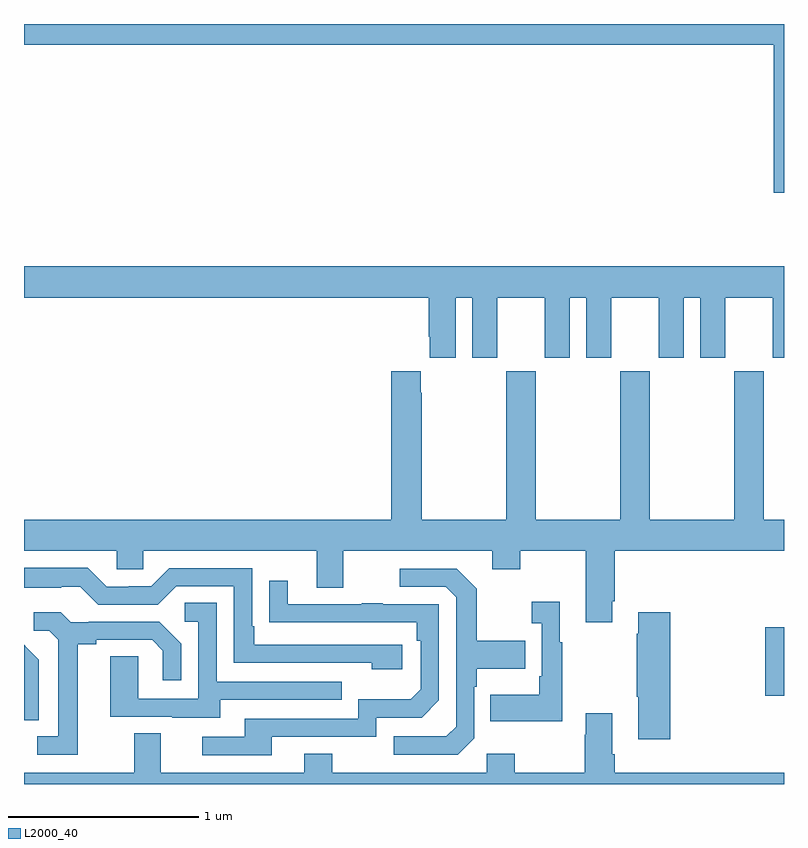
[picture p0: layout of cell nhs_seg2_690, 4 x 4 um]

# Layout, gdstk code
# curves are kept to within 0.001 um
import gdstk
lib = gdstk.Library(unit=1e-6, precision=1e-09)
def R(c, l, rs):  # rectangles x0, y0, x1, y1
    for r in rs: c.add(gdstk.rectangle(r[:2], r[2:], *l))
def P(c, l, *ps):  # polygons
    for p in ps: c.add(gdstk.Polygon(p, *l))
L2000_40 = (2000, 40)

nhs_seg2_690 = lib.new_cell('nhs_seg2_690')
R(nhs_seg2_690, L2000_40, [(150.902,588.265,151,588.625)])
P(nhs_seg2_690, L2000_40, [(151,591.8),(147,591.8),(147,591.692),(150.947,591.692),(150.947,590.913),(151,590.913)],
  [(147,590.36),(149.129,590.36),(149.129,590.155),(149.135,590.155),(149.135,590.043),(149.272,590.043),(149.272,590.36),(149.36,590.36),(149.36,590.043),(149.491,590.043),(149.491,590.36),(149.741,590.36),(149.741,590.043),(149.872,590.043),(149.872,590.36),(149.96,590.36),(149.96,590.043),(150.091,590.043),(150.091,590.36),(150.341,590.36),(150.341,590.043),(150.472,590.043),(150.472,590.36),(150.56,590.36),(150.56,590.043),(150.691,590.043),(150.691,590.36),(150.941,590.36),(150.941,590.043),(151,590.043),(151,590.524),(147,590.524)],
  [(147,589.028),(147.489,589.028),(147.489,588.93),(147.627,588.93),(147.627,589.028),(148.541,589.028),(148.541,588.834),(148.681,588.834),(148.681,589.028),(149.465,589.028),(149.465,588.929),(149.613,588.929),(149.613,589.028),(149.957,589.028),(149.957,588.651),(150.097,588.651),(150.097,588.763),(150.11,588.763),(150.11,589.028),(151,589.028),(151,589.192),(150.894,589.192),(150.894,589.972),(150.739,589.972),(150.739,589.192),(150.294,589.192),(150.294,589.972),(150.139,589.972),(150.139,589.192),(149.694,589.192),(149.694,589.972),(149.539,589.972),(149.539,589.192),(149.094,589.192),(149.094,589.859),(149.089,589.859),(149.089,589.972),(148.934,589.972),(148.934,589.192),(147,589.192)],
  [(148.99,588.534),(148.213,588.534),(148.213,588.631),(148.2,588.631),(148.2,588.936),(147.765,588.936),(147.669,588.84),(147.551,588.84),(147.551,588.837),(147.435,588.837),(147.335,588.937),(147,588.937),(147,588.833),(147.197,588.833),(147.197,588.837),(147.297,588.837),(147.39,588.744),(147.705,588.744),(147.801,588.84),(148.104,588.84),(148.104,588.438),(148.829,588.438),(148.829,588.404),(148.99,588.404)],
  [(149.37,588.042),(149.37,588.311),(149.383,588.311),(149.383,588.407),(149.639,588.407),(149.639,588.555),(149.383,588.555),(149.383,588.827),(149.277,588.933),(148.977,588.933),(148.977,588.837),(149.22,588.837),(149.274,588.783),(149.274,588.102),(149.223,588.051),(148.947,588.051),(148.947,587.955),(149.283,587.955)],
  [(148.303,588.048),(148.854,588.048),(148.854,588.15),(149.094,588.15),(149.184,588.24),(149.184,588.747),(148.889,588.747),(148.889,588.752),(148.777,588.752),(148.777,588.747),(148.387,588.747),(148.387,588.871),(148.291,588.871),(148.291,588.652),(149.068,588.651),(149.068,588.554),(149.088,588.554),(149.088,588.3),(149.035,588.247),(148.758,588.247),(148.758,588.144),(148.163,588.144),(148.163,588.048),(147.939,588.048),(147.939,587.952),(148.303,587.952)],
  [(149.833,588.547),(149.821,588.547),(149.821,588.76),(149.673,588.76),(149.673,588.647),(149.724,588.647),(149.724,588.367),(149.712,588.367),(149.712,588.271),(149.455,588.271),(149.455,588.131),(149.833,588.131)],
  [(148.033,588.243),(148.673,588.243),(148.673,588.339),(148.014,588.339),(148.014,588.755),(147.846,588.755),(147.846,588.654),(147.918,588.654),(147.918,588.249),(147.6,588.249),(147.6,588.473),(147.455,588.473),(147.455,588.153),(147.779,588.153),(147.779,588.149),(148.033,588.149)],
  [(147.283,588.536),(147.379,588.536),(147.379,588.558),(147.674,588.558),(147.731,588.501),(147.731,588.345),(147.828,588.345),(147.828,588.538),(147.712,588.654),(147.34,588.654),(147.34,588.651),(147.246,588.651),(147.194,588.703),(147.051,588.703),(147.051,588.606),(147.132,588.606),(147.179,588.559),(147.179,588.051),(147.069,588.051),(147.069,587.955),(147.283,587.955)],
  [(150.401,588.703),(150.233,588.703),(150.233,588.59),(150.226,588.59),(150.226,588.259),(150.233,588.259),(150.233,588.036),(150.401,588.036)],
  [(147.078,588.454),(147.005,588.527),(147.006,588.528),(147,588.534),(147,588.136),(147.078,588.136)],
  [(151,587.86),(150.11,587.86),(150.11,587.956),(150.097,587.956),(150.097,588.172),(149.957,588.172),(149.957,588.059),(149.95,588.059),(149.95,587.86),(149.583,587.86),(149.583,587.959),(149.436,587.959),(149.436,587.86),(148.623,587.86),(148.623,587.959),(148.475,587.959),(148.475,587.86),(147.721,587.86),(147.721,588.068),(147.581,588.068),(147.581,587.86),(147,587.86),(147,587.8),(151,587.8)])

lib.write_gds('nhs_seg2_690.gds')
